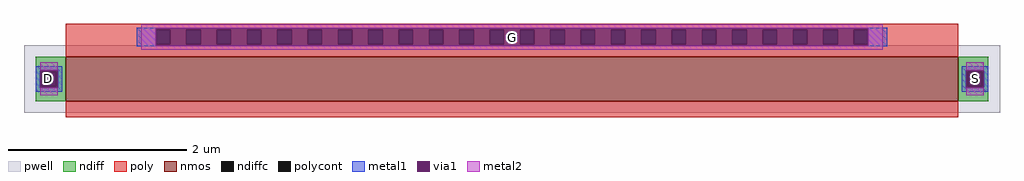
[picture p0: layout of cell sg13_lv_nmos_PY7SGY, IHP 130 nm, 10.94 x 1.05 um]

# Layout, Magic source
magic
tech ihp-sg13g2
magscale 1 2
<< pwell >>
rect -1094 -95 1094 57
<< nmos >>
rect -1000 -69 1000 31
<< ndiff >>
rect -1068 -3 -1000 31
rect -1068 -35 -1054 -3
rect -1022 -35 -1000 -3
rect -1068 -69 -1000 -35
rect 1000 -3 1068 31
rect 1000 -35 1022 -3
rect 1054 -35 1068 -3
rect 1000 -69 1068 -35
<< ndiffc >>
rect -1054 -35 -1022 -3
rect 1022 -35 1054 -3
<< poly >>
rect -1000 91 1000 105
rect -1000 59 -798 91
rect -766 59 -730 91
rect -698 59 -662 91
rect -630 59 -594 91
rect -562 59 -526 91
rect -494 59 -458 91
rect -426 59 -390 91
rect -358 59 -322 91
rect -290 59 -254 91
rect -222 59 -186 91
rect -154 59 -118 91
rect -86 59 -50 91
rect -18 59 18 91
rect 50 59 86 91
rect 118 59 154 91
rect 186 59 222 91
rect 254 59 290 91
rect 322 59 358 91
rect 390 59 426 91
rect 458 59 494 91
rect 526 59 562 91
rect 594 59 630 91
rect 662 59 698 91
rect 730 59 766 91
rect 798 59 1000 91
rect -1000 31 1000 59
rect -1000 -105 1000 -69
<< polycont >>
rect -798 59 -766 91
rect -730 59 -698 91
rect -662 59 -630 91
rect -594 59 -562 91
rect -526 59 -494 91
rect -458 59 -426 91
rect -390 59 -358 91
rect -322 59 -290 91
rect -254 59 -222 91
rect -186 59 -154 91
rect -118 59 -86 91
rect -50 59 -18 91
rect 18 59 50 91
rect 86 59 118 91
rect 154 59 186 91
rect 222 59 254 91
rect 290 59 322 91
rect 358 59 390 91
rect 426 59 458 91
rect 494 59 526 91
rect 562 59 594 91
rect 630 59 662 91
rect 698 59 730 91
rect 766 59 798 91
<< metal1 >>
rect -841 95 841 96
rect -841 55 -799 95
rect 799 55 841 95
rect -841 54 841 55
rect -1068 1 -1008 10
rect -1068 -39 -1058 1
rect -1018 -39 -1008 1
rect -1068 -48 -1008 -39
rect 1008 1 1068 10
rect 1008 -39 1018 1
rect 1058 -39 1068 1
rect 1008 -48 1068 -39
<< via1 >>
rect -799 91 799 95
rect -799 59 -798 91
rect -798 59 -766 91
rect -766 59 -730 91
rect -730 59 -698 91
rect -698 59 -662 91
rect -662 59 -630 91
rect -630 59 -594 91
rect -594 59 -562 91
rect -562 59 -526 91
rect -526 59 -494 91
rect -494 59 -458 91
rect -458 59 -426 91
rect -426 59 -390 91
rect -390 59 -358 91
rect -358 59 -322 91
rect -322 59 -290 91
rect -290 59 -254 91
rect -254 59 -222 91
rect -222 59 -186 91
rect -186 59 -154 91
rect -154 59 -118 91
rect -118 59 -86 91
rect -86 59 -50 91
rect -50 59 -18 91
rect -18 59 18 91
rect 18 59 50 91
rect 50 59 86 91
rect 86 59 118 91
rect 118 59 154 91
rect 154 59 186 91
rect 186 59 222 91
rect 222 59 254 91
rect 254 59 290 91
rect 290 59 322 91
rect 322 59 358 91
rect 358 59 390 91
rect 390 59 426 91
rect 426 59 458 91
rect 458 59 494 91
rect 494 59 526 91
rect 526 59 562 91
rect 562 59 594 91
rect 594 59 630 91
rect 630 59 662 91
rect 662 59 698 91
rect 698 59 730 91
rect 730 59 766 91
rect 766 59 798 91
rect 798 59 799 91
rect -799 55 799 59
rect -1058 -3 -1018 1
rect -1058 -35 -1054 -3
rect -1054 -35 -1022 -3
rect -1022 -35 -1018 -3
rect -1058 -39 -1018 -35
rect 1018 -3 1058 1
rect 1018 -35 1022 -3
rect 1022 -35 1054 -3
rect 1054 -35 1058 -3
rect 1018 -39 1058 -35
<< metal2 >>
rect -831 95 831 104
rect -831 55 -799 95
rect 799 55 831 95
rect -831 46 831 55
rect -1058 1 -1018 18
rect -1058 -56 -1018 -39
rect 1018 1 1058 18
rect 1018 -56 1058 -39
<< labels >>
rlabel metal1 s -1038 -19 -1038 -19 4 D
rlabel metal1 s 1038 -19 1038 -19 4 S
rlabel metal1 s 0 75 0 75 4 G
<< end >>
